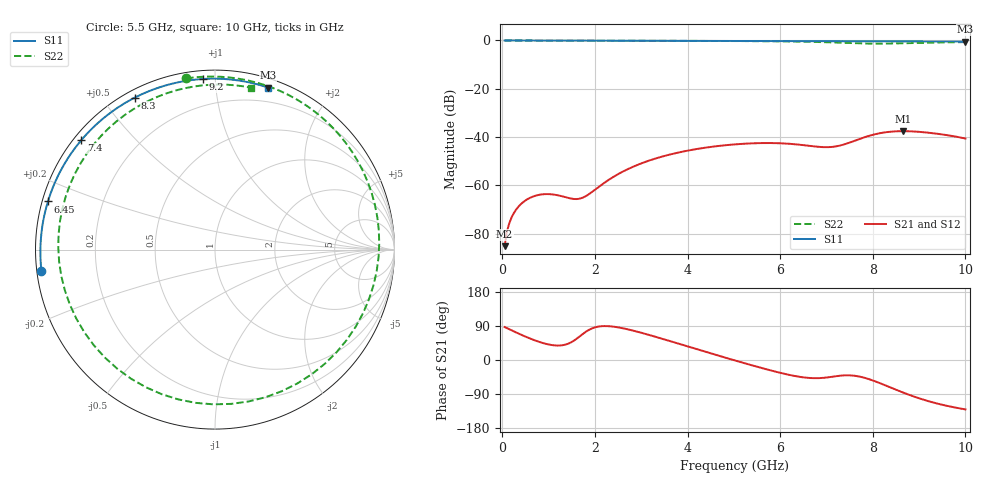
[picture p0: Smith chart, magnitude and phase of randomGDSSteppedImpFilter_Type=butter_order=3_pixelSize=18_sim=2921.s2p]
! freq	dB(S11)	phase(S11)	dB(S12)	phase(S12)
!  dB(S21)	phase(S21)	dB(S22)	phase(S22)
!S-par simulation data
#  GHz  S  DB  R 50
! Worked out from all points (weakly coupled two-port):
!   200 points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, 50 MHz to 10 GHz, reference 50 ohm
!   highest |S21| = -37.53 dB at 8.65 GHz (marker M1); lowest = -85.1 dB at 50 MHz (marker M2)
!   lowest |S11| = -0.4 dB at 10 GHz (marker M3), VSWR 38.94, Z = 3.72 + j68.8 ohm
!   |S11| at or under -10 dB: nowhere
!   |S22| runs from -1.3 to 0.0 dB; largest |S21 - S12| = 0
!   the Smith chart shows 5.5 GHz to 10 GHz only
!   S11 on the Smith chart (normalised r, x): 5.5 GHz: 0.01, -0.06; 6.45 GHz: 0.02, +0.14; 7.4 GHz: 0.02, +0.36; 8.3 GHz: 0.03, +0.60; 9.2 GHz: 0.05, +0.93; 10 GHz: 0.07, +1.38
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0.05  -0.00 -2.0  -85.11 87.0  -85.11 87.0  -0.00 -4.0
0.3  -0.02 -11.9  -69.92 72.6  -69.92 72.6  -0.04 -23.6
0.6  -0.03 -23.6  -65.09 56.7  -65.09 56.7  -0.06 -46.0
1.15  -0.06 -44.6  -63.87 38.4  -63.87 38.4  -0.09 -82.9
1.75  -0.08 -66.3  -64.92 69.9  -64.92 69.9  -0.11 -116.1
2.55  -0.11 -92.8  -54.79 85.1  -54.79 85.1  -0.13 -151.5
3.4  -0.14 -118.3  -48.32 58.0  -48.32 58.0  -0.15 177.0
4.2  -0.17 -140.2  -44.90 28.6  -44.90 28.6  -0.18 149.2
5.05  -0.20 -161.9  -42.95 -2.1  -42.95 -2.1  -0.24 118.1
5.5  -0.23 -173.0  -42.50 -17.7  -42.50 -17.7  -0.29 99.5
6  -0.25 174.8  -42.54 -33.8  -42.54 -33.8  -0.37 75.5
6.45  -0.28 163.9  -43.19 -45.0  -43.19 -45.0  -0.48 49.2
6.7  -0.29 157.8  -43.75 -47.9  -43.75 -47.9  -0.58 31.7
7.1  -0.31 148.1  -44.08 -44.6  -44.08 -44.6  -0.80 -2.6
7.4  -0.33 140.6  -42.90 -40.5  -42.90 -40.5  -1.01 -34.4
7.85  -0.36 129.4  -39.87 -47.9  -39.87 -47.9  -1.29 -90.6
8.3  -0.38 117.8  -37.93 -68.3  -37.93 -68.3  -1.30 -147.6
8.35  -0.38 116.5  -37.82 -70.8  -37.82 -70.8  -1.28 -153.5
8.65  -0.40 108.7  -37.53 -85.6  -37.53 -85.6  -1.15 174.4
9.2  -0.42 94.0  -38.16 -108.6  -38.16 -108.6  -0.91 127.6
9.6  -0.43 83.0  -39.16 -121.0  -39.16 -121.0  -0.77 100.6
10  -0.45 71.9  -40.59 -130.4  -40.59 -130.4  -0.68 77.4
